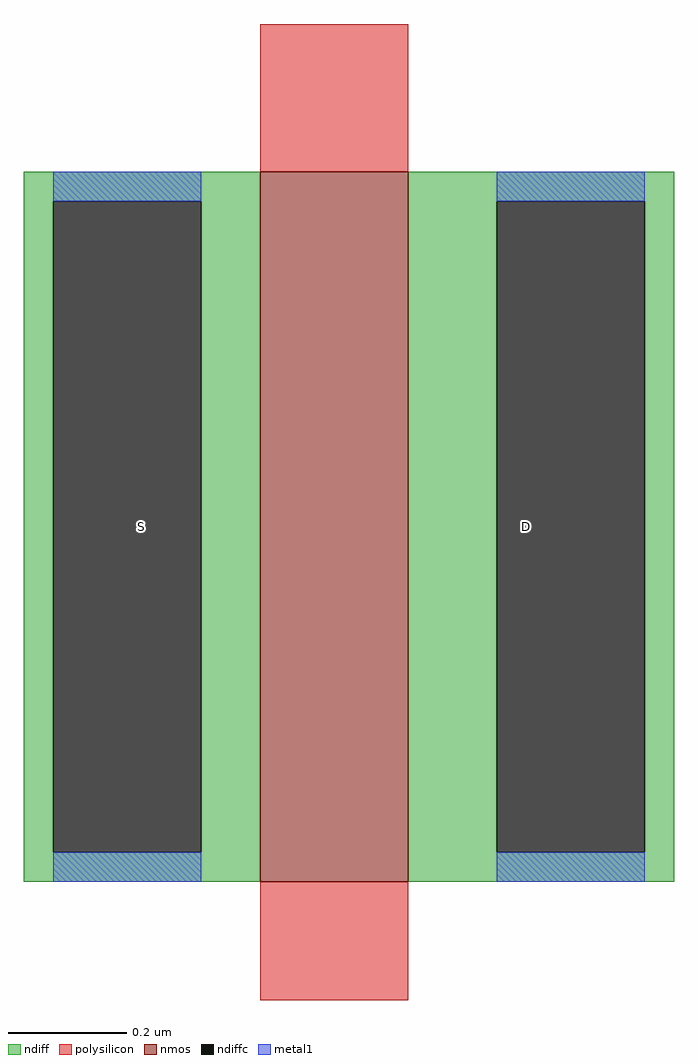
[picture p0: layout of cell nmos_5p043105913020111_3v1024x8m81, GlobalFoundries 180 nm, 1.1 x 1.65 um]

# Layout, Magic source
magic
tech gf180mcuD
<< nmos >>
rect 0 0 5 24
<< ndiff >>
rect -8 23 0 24
rect -8 1 -7 23
rect -2 1 0 23
rect -8 0 0 1
rect 5 23 14 24
rect 5 1 8 23
rect 13 1 14 23
rect 5 0 14 1
<< ndiffc >>
rect -7 1 -2 23
rect 8 1 13 23
<< polysilicon >>
rect 0 24 5 29
rect 0 -4 5 0
<< metal1 >>
rect -7 23 -2 24
rect -7 0 -2 1
rect 8 23 13 24
rect 8 0 13 1
<< labels >>
flabel ndiffc -4 12 -4 12 0 FreeSans 9 0 0 0 S
flabel ndiffc 9 12 9 12 0 FreeSans 9 0 0 0 D
<< end >>
